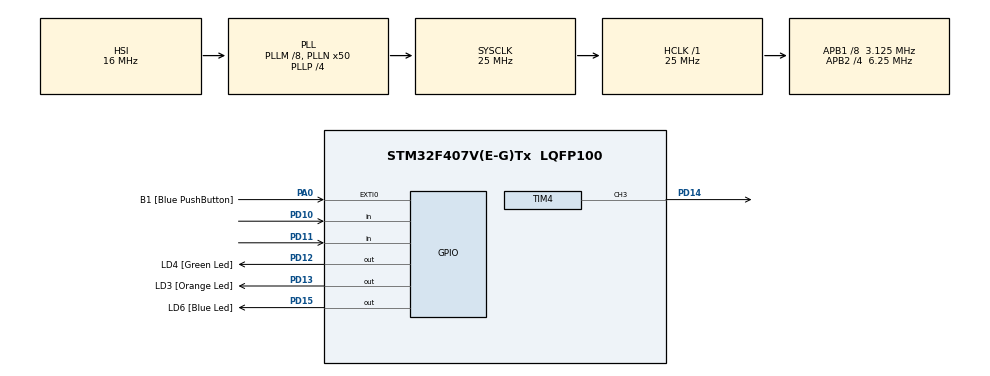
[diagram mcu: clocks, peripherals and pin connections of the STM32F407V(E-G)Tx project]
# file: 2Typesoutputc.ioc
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Mcu.Family=STM32F4
Mcu.Name=STM32F407V(E-G)Tx
Mcu.Package=LQFP100
NVIC.PriorityGroup=NVIC_PRIORITYGROUP_0
NVIC.TIM4_IRQn=true\:0\:0\:false\:false\:true\:true
PA0-WKUP.GPIO_Label=B1 [Blue PushButton]
PA0-WKUP.GPIO_ModeDefaultEXTI=GPIO_MODE_EVT_RISING
PA0-WKUP.GPIO_PuPd=GPIO_NOPULL
PA0-WKUP.Signal=GPXTI0
PA10.GPIO_Label=OTG_FS_ID
PA10.GPIO_Mode=GPIO_MODE_AF_PP
PA10.GPIO_PuPd=GPIO_NOPULL
PA10.GPIO_Speed=GPIO_SPEED_FREQ_LOW
PA10.Signal=USB_OTG_FS_ID
PA11.GPIO_Label=OTG_FS_DM
PA11.GPIO_Mode=GPIO_MODE_AF_PP
PA11.GPIO_PuPd=GPIO_NOPULL
PA11.GPIO_Speed=GPIO_SPEED_FREQ_LOW
PA11.Signal=USB_OTG_FS_DM
PA12.GPIO_Label=OTG_FS_DP
PA12.GPIO_Mode=GPIO_MODE_AF_PP
PA12.GPIO_PuPd=GPIO_NOPULL
PA12.GPIO_Speed=GPIO_SPEED_FREQ_LOW
PA12.Signal=USB_OTG_FS_DP
PA13.GPIO_Label=SWDIO
PA13.Signal=SYS_JTMS-SWDIO
PA14.GPIO_Label=SWCLK
PA14.Signal=SYS_JTCK-SWCLK
PA4.GPIO_Label=I2S3_WS [CS43L22_LRCK]
PA4.GPIO_Mode=GPIO_MODE_AF_PP
PA4.GPIO_PuPd=GPIO_NOPULL
PA4.GPIO_Speed=GPIO_SPEED_FREQ_LOW
PA4.Signal=I2S3_WS
PA5.GPIO_Label=SPI1_SCK [LIS302DL_SCL/SPC]
PA5.GPIO_Mode=GPIO_MODE_AF_PP
PA5.GPIO_PuPd=GPIO_NOPULL
PA5.GPIO_Speed=GPIO_SPEED_FREQ_LOW
PA5.Signal=SPI1_SCK
PA6.GPIO_Label=SPI1_MISO [LIS302DL_SDO]
PA6.GPIO_Mode=GPIO_MODE_AF_PP
PA6.GPIO_PuPd=GPIO_NOPULL
PA6.GPIO_Speed=GPIO_SPEED_FREQ_LOW
PA6.Signal=SPI1_MISO
PA7.GPIO_Label=SPI1_MOSI [LIS302DL_SDA/SDI/SDO]
PA7.GPIO_Mode=GPIO_MODE_AF_PP
PA7.GPIO_PuPd=GPIO_NOPULL
PA7.GPIO_Speed=GPIO_SPEED_FREQ_LOW
PA7.Signal=SPI1_MOSI
PA9.GPIO_Label=VBUS_FS
PA9.GPIO_Mode=GPIO_MODE_INPUT
PA9.GPIO_PuPd=GPIO_NOPULL
PA9.Signal=USB_OTG_FS_VBUS
PB10.GPIO_Label=CLK_IN [MP45DT02_CLK]
PB10.GPIO_Mode=GPIO_MODE_AF_PP
PB10.GPIO_PuPd=GPIO_NOPULL
PB10.GPIO_Speed=GPIO_SPEED_FREQ_LOW
PB10.Signal=I2S2_CK
PB3.GPIO_Label=SWO
PB3.Signal=SYS_JTDO-SWO
PB6.GPIO_Label=Audio_SCL [CS43L22_SCL]
PB6.GPIO_Mode=GPIO_MODE_AF_OD
PB6.GPIO_PuPd=GPIO_NOPULL
PB6.GPIO_Speed=GPIO_SPEED_FREQ_LOW
PB6.Signal=I2C1_SCL
PB9.GPIO_Label=Audio_SDA [CS43L22_SDA]
PB9.GPIO_Mode=GPIO_MODE_AF_OD
PB9.GPIO_PuPd=GPIO_NOPULL
PB9.GPIO_Speed=GPIO_SPEED_FREQ_LOW
PB9.Signal=I2C1_SDA
PC10.GPIO_Label=I2S3_SCK [CS43L22_SCLK]
PC10.GPIO_Mode=GPIO_MODE_AF_PP
PC10.GPIO_PuPd=GPIO_NOPULL
PC10.GPIO_Speed=GPIO_SPEED_FREQ_LOW
PC10.Signal=I2S3_CK
PC12.GPIO_Label=I2S3_SD [CS43L22_SDIN]
PC12.GPIO_Mode=GPIO_MODE_AF_PP
PC12.GPIO_PuPd=GPIO_NOPULL
PC12.GPIO_Speed=GPIO_SPEED_FREQ_LOW
PC12.Signal=I2S3_SD
PC14-OSC32_IN.GPIO_Label=PC14-OSC32_IN
PC14-OSC32_IN.Signal=RCC_OSC32_IN
PC15-OSC32_OUT.GPIO_Label=PC15-OSC32_OUT
PC15-OSC32_OUT.Signal=RCC_OSC32_OUT
PC3.GPIO_Label=PDM_OUT [MP45DT02_DOUT]
PC3.GPIO_Mode=GPIO_MODE_AF_PP
PC3.GPIO_PuPd=GPIO_NOPULL
PC3.GPIO_Speed=GPIO_SPEED_FREQ_LOW
PC3.Signal=I2S2_SD
PC7.GPIO_Label=I2S3_MCK [CS43L22_MCLK]
PC7.GPIO_Mode=GPIO_MODE_AF_PP
PC7.GPIO_PuPd=GPIO_NOPULL
PC7.GPIO_Speed=GPIO_SPEED_FREQ_LOW
PC7.Signal=I2S3_MCK
PD10.Signal=GPIO_Input
PD11.Signal=GPIO_Input
PD12.GPIO_Label=LD4 [Green Led]
PD12.GPIO_PuPd=GPIO_NOPULL
PD12.GPIO_Speed=GPIO_SPEED_FREQ_LOW
PD12.Signal=GPIO_Output
PD13.GPIO_Label=LD3 [Orange Led]
PD13.GPIO_PuPd=GPIO_NOPULL
PD13.GPIO_Speed=GPIO_SPEED_FREQ_LOW
PD13.Signal=GPIO_Output
PD14.Signal=S_TIM4_CH3
PD15.GPIO_Label=LD6 [Blue Led]
PD15.GPIO_PuPd=GPIO_NOPULL
PD15.GPIO_Speed=GPIO_SPEED_FREQ_LOW
PD15.Signal=GPIO_Output
PH0-OSC_IN.GPIO_Label=PH0-OSC_IN
PH0-OSC_IN.Signal=RCC_OSC_IN
PH1-OSC_OUT.GPIO_Label=PH1-OSC_OUT
PH1-OSC_OUT.Signal=RCC_OSC_OUT
ProjectManager.HeapSize=0x200
ProjectManager.StackSize=0x400
ProjectManager.TargetToolchain=MDK-ARM V5
RCC.48MHZClocksFreq_Value=14285714.285714285
RCC.AHBFreq_Value=25000000
RCC.APB1CLKDivider=RCC_HCLK_DIV8
RCC.APB1Freq_Value=3125000
RCC.APB1TimFreq_Value=6250000
RCC.APB2CLKDivider=RCC_HCLK_DIV4
RCC.APB2Freq_Value=6250000
RCC.APB2TimFreq_Value=12500000
RCC.CortexFreq_Value=25000000
RCC.HCLKFreq_Value=25000000
RCC.HSE_VALUE=8000000
RCC.HSI_VALUE=16000000
RCC.LSE_VALUE=32768
RCC.PLLM=8
RCC.PLLN=50
RCC.PLLP=RCC_PLLP_DIV4
RCC.PLLQ=7
RCC.SYSCLKFreq_VALUE=25000000
RCC.SYSCLKSource=RCC_SYSCLKSOURCE_PLLCLK
RCC.VCOOutputFreq_Value=100000000
SH.S_TIM4_CH3.0=TIM4_CH3,Output Compare3 CH3
TIM4.Channel-Output\ Compare3\ CH3=TIM_CHANNEL_3
TIM4.Period=10000
TIM4.Prescaler=16000
TIM4.Pulse-Output\ Compare3\ CH3=1000
VP_TIM4_VS_ClockSourceINT.Mode=Internal
board=STM32F4DISCOVERY

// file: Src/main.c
/**
  ******************************************************************************
  * @file           : main.c
  * @brief          : Main program body
  ******************************************************************************
  ** This notice applies to any and all portions of this file
  * that are not between comment pairs USER CODE BEGIN and
  * USER CODE END. Other portions of this file, whether
  * inserted by the user or by software development tools
  * are owned by their respective copyright owners.
  *
  * COPYRIGHT(c) 2018 STMicroelectronics
  *
  * Redistribution and use in source and binary forms, with or without modification,
  * are permitted provided that the following conditions are met:
  *   1. Redistributions of source code must retain the above copyright notice,
  *      this list of conditions and the following disclaimer.
  *   2. Redistributions in binary form must reproduce the above copyright notice,
  *      this list of conditions and the following disclaimer in the documentation
  *      and/or other materials provided with the distribution.
  *   3. Neither the name of STMicroelectronics nor the names of its contributors
  *      may be used to endorse or promote products derived from this software
  *      without specific prior written permission.
  *
  * THIS SOFTWARE IS PROVIDED BY THE COPYRIGHT HOLDERS AND CONTRIBUTORS "AS IS"
  * AND ANY EXPRESS OR IMPLIED WARRANTIES, INCLUDING, BUT NOT LIMITED TO, THE
  * IMPLIED WARRANTIES OF MERCHANTABILITY AND FITNESS FOR A PARTICULAR PURPOSE ARE
  * DISCLAIMED. IN NO EVENT SHALL THE COPYRIGHT HOLDER OR CONTRIBUTORS BE LIABLE
  * FOR ANY DIRECT, INDIRECT, INCIDENTAL, SPECIAL, EXEMPLARY, OR CONSEQUENTIAL
  * DAMAGES (INCLUDING, BUT NOT LIMITED TO, PROCUREMENT OF SUBSTITUTE GOODS OR
  * SERVICES; LOSS OF USE, DATA, OR PROFITS; OR BUSINESS INTERRUPTION) HOWEVER
  * CAUSED AND ON ANY THEORY OF LIABILITY, WHETHER IN CONTRACT, STRICT LIABILITY,
  * OR TORT (INCLUDING NEGLIGENCE OR OTHERWISE) ARISING IN ANY WAY OUT OF THE USE
  * OF THIS SOFTWARE, EVEN IF ADVISED OF THE POSSIBILITY OF SUCH DAMAGE.
  *
  ******************************************************************************
  */
#include "main.h"
#include "stm32f4xx_hal.h"

TIM_HandleTypeDef htim4;

/* USER CODE BEGIN PV */
/* Private variables ---------------------------------------------------------*/

/* USER CODE END PV */

void SystemClock_Config(void);
static void MX_GPIO_Init(void);
static void MX_TIM4_Init(void);
void HAL_TIM_MspPostInit(TIM_HandleTypeDef *htim);

/* USER CODE BEGIN PFP */
/* Private function prototypes -----------------------------------------------*/

/* USER CODE END PFP */

/* USER CODE BEGIN 0 */
uint32_t counterVal;
uint32_t outputCaptureVal;
int counton=0;
//Callback, se llama cuando se presiona el botСn PA3
void HAL_TIM_OC_CaptureCallback(TIM_HandleTypeDef *htim)
{
  /* Prevent unused argument(s) compilation warning */
  //UNUSED(htim);
  /* NOTE : This function Should not be modified, when the callback is needed,
            the __HAL_TIM_IC_CaptureCallback could be implemented in the user file
   */
	//Comprobar que viene del timer 2

	if (htim->Instance==TIM4){
		outputCaptureVal = __HAL_TIM_GetCounter(htim);
		__HAL_TIM_SetCounter(htim,0);

	}

}

/* USER CODE END 0 */

int main(void)
{

  /* MCU Configuration----------------------------------------------------------*/

  /* Reset of all peripherals, Initializes the Flash interface and the Systick. */
  HAL_Init();

  /* Configure the system clock */
  SystemClock_Config();

  /* Initialize all configured peripherals */
  MX_GPIO_Init();
  MX_TIM4_Init();
  /* USER CODE BEGIN 2 */
	HAL_TIM_OC_Start_IT(&htim4, TIM_CHANNEL_3);

  /* USER CODE END 2 */

  /* Infinite loop */
  while (1)
  {

  /* USER CODE BEGIN 3 */
		counterVal = __HAL_TIM_GetCounter(&htim4);//capturamos el valor del contador

		//bucle para comprobar que ponemos a cero el contador cuando pulsamos(inutil para el funcionamiento)

		if(counterVal == 0){
			HAL_GPIO_WritePin(GPIOD,GPIO_PIN_15,1);
		}else{
			HAL_GPIO_WritePin(GPIOD,GPIO_PIN_15,0);
		}

		//codigo para e interruptor y su interrupcion y temporizacion
		if((HAL_GPIO_ReadPin(GPIOD,GPIO_PIN_10))==1){
			//HAL_TIM_OC_Init(&htim4);
			HAL_TIM_OC_Stop(&htim4,TIM_CHANNEL_3);//NO VA PAJARO
		}

		//bucle que hace que se apage el led cada cierto tiempo
		/*if (counterVal < 9000){
			HAL_GPIO_WritePin(GPIOD,GPIO_PIN_14,1);
		}else {
			HAL_GPIO_WritePin(GPIOD,GPIO_PIN_14,0);
		}*/

		//bucle del interruptor simple
		if(HAL_GPIO_ReadPin(GPIOD,GPIO_PIN_11)==1)
			{
      if(counton==0)
				{
		  HAL_GPIO_WritePin(GPIOD,GPIO_PIN_13,1);
			counton++;
				}
	    else if(counton==1)
			{
		     if(HAL_GPIO_ReadPin(GPIOD,GPIO_PIN_11)==1)
					 {
		          HAL_GPIO_WritePin(GPIOD,GPIO_PIN_13,0);
							counton--;

					 }
		   }
		}

  }
  /* USER CODE END 3 */

}

void SystemClock_Config(void)
{

  RCC_OscInitTypeDef RCC_OscInitStruct;
  RCC_ClkInitTypeDef RCC_ClkInitStruct;

    /**Configure the main internal regulator output voltage
    */
  __HAL_RCC_PWR_CLK_ENABLE();

  __HAL_PWR_VOLTAGESCALING_CONFIG(PWR_REGULATOR_VOLTAGE_SCALE1);

    /**Initializes the CPU, AHB and APB busses clocks
    */
  RCC_OscInitStruct.OscillatorType = RCC_OSCILLATORTYPE_HSI;
  RCC_OscInitStruct.HSIState = RCC_HSI_ON;
  RCC_OscInitStruct.HSICalibrationValue = 16;
  RCC_OscInitStruct.PLL.PLLState = RCC_PLL_ON;
  RCC_OscInitStruct.PLL.PLLSource = RCC_PLLSOURCE_HSI;
  RCC_OscInitStruct.PLL.PLLM = 8;
  RCC_OscInitStruct.PLL.PLLN = 50;
  RCC_OscInitStruct.PLL.PLLP = RCC_PLLP_DIV4;
  RCC_OscInitStruct.PLL.PLLQ = 7;
  if (HAL_RCC_OscConfig(&RCC_OscInitStruct) != HAL_OK)
  {
    _Error_Handler(__FILE__, __LINE__);
  }

    /**Initializes the CPU, AHB and APB busses clocks
    */
  RCC_ClkInitStruct.ClockType = RCC_CLOCKTYPE_HCLK|RCC_CLOCKTYPE_SYSCLK
                              |RCC_CLOCKTYPE_PCLK1|RCC_CLOCKTYPE_PCLK2;
  RCC_ClkInitStruct.SYSCLKSource = RCC_SYSCLKSOURCE_PLLCLK;
  RCC_ClkInitStruct.AHBCLKDivider = RCC_SYSCLK_DIV1;
  RCC_ClkInitStruct.APB1CLKDivider = RCC_HCLK_DIV8;
  RCC_ClkInitStruct.APB2CLKDivider = RCC_HCLK_DIV4;

  if (HAL_RCC_ClockConfig(&RCC_ClkInitStruct, FLASH_LATENCY_0) != HAL_OK)
  {
    _Error_Handler(__FILE__, __LINE__);
  }

    /**Configure the Systick interrupt time
    */
  HAL_SYSTICK_Config(HAL_RCC_GetHCLKFreq()/1000);

    /**Configure the Systick
    */
  HAL_SYSTICK_CLKSourceConfig(SYSTICK_CLKSOURCE_HCLK);

  /* SysTick_IRQn interrupt configuration */
  HAL_NVIC_SetPriority(SysTick_IRQn, 0, 0);
}

/* TIM4 init function */
static void MX_TIM4_Init(void)
{

  TIM_ClockConfigTypeDef sClockSourceConfig;
  TIM_MasterConfigTypeDef sMasterConfig;
  TIM_OC_InitTypeDef sConfigOC;

  htim4.Instance = TIM4;
  htim4.Init.Prescaler = 16000;
  htim4.Init.CounterMode = TIM_COUNTERMODE_UP;
  htim4.Init.Period = 10000;
  htim4.Init.ClockDivision = TIM_CLOCKDIVISION_DIV1;
  if (HAL_TIM_Base_Init(&htim4) != HAL_OK)
  {
    _Error_Handler(__FILE__, __LINE__);
  }

  sClockSourceConfig.ClockSource = TIM_CLOCKSOURCE_INTERNAL;
  if (HAL_TIM_ConfigClockSource(&htim4, &sClockSourceConfig) != HAL_OK)
  {
    _Error_Handler(__FILE__, __LINE__);
  }

  if (HAL_TIM_OC_Init(&htim4) != HAL_OK)
  {
    _Error_Handler(__FILE__, __LINE__);
  }

  sMasterConfig.MasterOutputTrigger = TIM_TRGO_RESET;
  sMasterConfig.MasterSlaveMode = TIM_MASTERSLAVEMODE_DISABLE;
  if (HAL_TIMEx_MasterConfigSynchronization(&htim4, &sMasterConfig) != HAL_OK)
  {
    _Error_Handler(__FILE__, __LINE__);
  }

  sConfigOC.OCMode = TIM_OCMODE_TIMING;
  sConfigOC.Pulse = 1000;
  sConfigOC.OCPolarity = TIM_OCPOLARITY_HIGH;
  sConfigOC.OCFastMode = TIM_OCFAST_DISABLE;
  if (HAL_TIM_OC_ConfigChannel(&htim4, &sConfigOC, TIM_CHANNEL_3) != HAL_OK)
  {
    _Error_Handler(__FILE__, __LINE__);
  }

  HAL_TIM_MspPostInit(&htim4);

}

/** Configure pins as
        * Analog
        * Input
        * Output
        * EVENT_OUT
        * EXTI
     PC3   ------> I2S2_SD
     PA4   ------> I2S3_WS
     PA5   ------> SPI1_SCK
     PA6   ------> SPI1_MISO
     PA7   ------> SPI1_MOSI
     PB10   ------> I2S2_CK
     PC7   ------> I2S3_MCK
     PA9   ------> USB_OTG_FS_VBUS
     PA10   ------> USB_OTG_FS_ID
     PA11   ------> USB_OTG_FS_DM
     PA12   ------> USB_OTG_FS_DP
     PC10   ------> I2S3_CK
     PC12   ------> I2S3_SD
     PB6   ------> I2C1_SCL
     PB9   ------> I2C1_SDA
*/
static void MX_GPIO_Init(void)
{

  GPIO_InitTypeDef GPIO_InitStruct;

  /* GPIO Ports Clock Enable */
  __HAL_RCC_GPIOC_CLK_ENABLE();
  __HAL_RCC_GPIOH_CLK_ENABLE();
  __HAL_RCC_GPIOA_CLK_ENABLE();
  __HAL_RCC_GPIOB_CLK_ENABLE();
  __HAL_RCC_GPIOD_CLK_ENABLE();

  /*Configure GPIO pin Output Level */
  HAL_GPIO_WritePin(GPIOD, LD4_Pin|LD3_Pin|LD6_Pin, GPIO_PIN_RESET);

  /*Configure GPIO pin : PDM_OUT_Pin */
  GPIO_InitStruct.Pin = PDM_OUT_Pin;
  GPIO_InitStruct.Mode = GPIO_MODE_AF_PP;
  GPIO_InitStruct.Pull = GPIO_NOPULL;
  GPIO_InitStruct.Speed = GPIO_SPEED_FREQ_LOW;
  GPIO_InitStruct.Alternate = GPIO_AF5_SPI2;
  HAL_GPIO_Init(PDM_OUT_GPIO_Port, &GPIO_InitStruct);

  /*Configure GPIO pin : B1_Pin */
  GPIO_InitStruct.Pin = B1_Pin;
  GPIO_InitStruct.Mode = GPIO_MODE_EVT_RISING;
  GPIO_InitStruct.Pull = GPIO_NOPULL;
  HAL_GPIO_Init(B1_GPIO_Port, &GPIO_InitStruct);

  /*Configure GPIO pin : I2S3_WS_Pin */
  GPIO_InitStruct.Pin = I2S3_WS_Pin;
  GPIO_InitStruct.Mode = GPIO_MODE_AF_PP;
  GPIO_InitStruct.Pull = GPIO_NOPULL;
  GPIO_InitStruct.Speed = GPIO_SPEED_FREQ_LOW;
  GPIO_InitStruct.Alternate = GPIO_AF6_SPI3;
  HAL_GPIO_Init(I2S3_WS_GPIO_Port, &GPIO_InitStruct);

  /*Configure GPIO pins : SPI1_SCK_Pin SPI1_MISO_Pin SPI1_MOSI_Pin */
  GPIO_InitStruct.Pin = SPI1_SCK_Pin|SPI1_MISO_Pin|SPI1_MOSI_Pin;
  GPIO_InitStruct.Mode = GPIO_MODE_AF_PP;
  GPIO_InitStruct.Pull = GPIO_NOPULL;
  GPIO_InitStruct.Speed = GPIO_SPEED_FREQ_LOW;
  GPIO_InitStruct.Alternate = GPIO_AF5_SPI1;
  HAL_GPIO_Init(GPIOA, &GPIO_InitStruct);

  /*Configure GPIO pin : CLK_IN_Pin */
  GPIO_InitStruct.Pin = CLK_IN_Pin;
  GPIO_InitStruct.Mode = GPIO_MODE_AF_PP;
  GPIO_InitStruct.Pull = GPIO_NOPULL;
  GPIO_InitStruct.Speed = GPIO_SPEED_FREQ_LOW;
  GPIO_InitStruct.Alternate = GPIO_AF5_SPI2;
  HAL_GPIO_Init(CLK_IN_GPIO_Port, &GPIO_InitStruct);

  /*Configure GPIO pins : PD10 PD11 */
  GPIO_InitStruct.Pin = GPIO_PIN_10|GPIO_PIN_11;
  GPIO_InitStruct.Mode = GPIO_MODE_INPUT;
  GPIO_InitStruct.Pull = GPIO_NOPULL;
  HAL_GPIO_Init(GPIOD, &GPIO_InitStruct);

  /*Configure GPIO pins : LD4_Pin LD3_Pin LD6_Pin */
  GPIO_InitStruct.Pin = LD4_Pin|LD3_Pin|LD6_Pin;
  GPIO_InitStruct.Mode = GPIO_MODE_OUTPUT_PP;
  GPIO_InitStruct.Pull = GPIO_NOPULL;
  GPIO_InitStruct.Speed = GPIO_SPEED_FREQ_LOW;
  HAL_GPIO_Init(GPIOD, &GPIO_InitStruct);

  /*Configure GPIO pins : I2S3_MCK_Pin I2S3_SCK_Pin I2S3_SD_Pin */
  GPIO_InitStruct.Pin = I2S3_MCK_Pin|I2S3_SCK_Pin|I2S3_SD_Pin;
  GPIO_InitStruct.Mode = GPIO_MODE_AF_PP;
  GPIO_InitStruct.Pull = GPIO_NOPULL;
  GPIO_InitStruct.Speed = GPIO_SPEED_FREQ_LOW;
  GPIO_InitStruct.Alternate = GPIO_AF6_SPI3;
  HAL_GPIO_Init(GPIOC, &GPIO_InitStruct);

  /*Configure GPIO pin : VBUS_FS_Pin */
  GPIO_InitStruct.Pin = VBUS_FS_Pin;
  GPIO_InitStruct.Mode = GPIO_MODE_INPUT;
  GPIO_InitStruct.Pull = GPIO_NOPULL;
  HAL_GPIO_Init(VBUS_FS_GPIO_Port, &GPIO_InitStruct);

  /*Configure GPIO pins : OTG_FS_ID_Pin OTG_FS_DM_Pin OTG_FS_DP_Pin */
  GPIO_InitStruct.Pin = OTG_FS_ID_Pin|OTG_FS_DM_Pin|OTG_FS_DP_Pin;
  GPIO_InitStruct.Mode = GPIO_MODE_AF_PP;
  GPIO_InitStruct.Pull = GPIO_NOPULL;
  GPIO_InitStruct.Speed = GPIO_SPEED_FREQ_LOW;
  GPIO_InitStruct.Alternate = GPIO_AF10_OTG_FS;
  HAL_GPIO_Init(GPIOA, &GPIO_InitStruct);

  /*Configure GPIO pins : Audio_SCL_Pin Audio_SDA_Pin */
  GPIO_InitStruct.Pin = Audio_SCL_Pin|Audio_SDA_Pin;
  GPIO_InitStruct.Mode = GPIO_MODE_AF_OD;
  GPIO_InitStruct.Pull = GPIO_PULLUP;
  GPIO_InitStruct.Speed = GPIO_SPEED_FREQ_LOW;
  GPIO_InitStruct.Alternate = GPIO_AF4_I2C1;
  HAL_GPIO_Init(GPIOB, &GPIO_InitStruct);

}

void _Error_Handler(char *file, int line)
{
  while(1)
  {
  }
}

/************************ (C) COPYRIGHT STMicroelectronics *****END OF FILE****/
